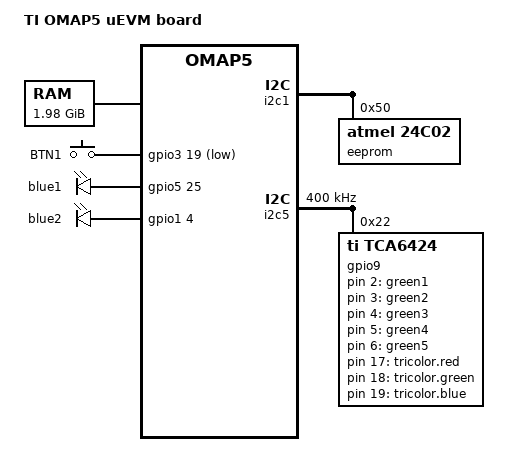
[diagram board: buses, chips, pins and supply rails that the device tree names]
/*
 * Copyright (C) 2013 Texas Instruments Incorporated - http://www.ti.com/
 *
 * This program is free software; you can redistribute it and/or modify
 * it under the terms of the GNU General Public License version 2 as
 * published by the Free Software Foundation.
 */
/dts-v1/;

#include "omap5-board-common.dtsi"

/ {
	model = "TI OMAP5 uEVM board";
	compatible = "ti,omap5-uevm", "ti,omap5";

	memory@80000000 {
		device_type = "memory";
		reg = <0 0x80000000 0 0x7f000000>; /* 2032 MB */
	};
};


&i2c1 {
	eeprom@50 {
		compatible = "atmel,24c02";
		reg = <0x50>;
	};
};

&i2c5 {
	pinctrl-names = "default";
	pinctrl-0 = <&i2c5_pins>;

	clock-frequency = <400000>;
};

&omap5_pmx_core {
	i2c5_pins: i2c5 {
		pinctrl-single,pins = <
			OMAP5_IOPAD(0x1c6, PIN_INPUT | MUX_MODE0)		/* i2c5_scl */
			OMAP5_IOPAD(0x1c8, PIN_INPUT | MUX_MODE0)		/* i2c5_sda */
		>;
	};
};

&i2c5 {
	gpio9: gpio@22 {
		compatible = "ti,tca6424";
		reg = <0x22>;
		gpio-controller;
		#gpio-cells = <2>;
		pinctrl-names = "default";
		pinctrl-0 = <&tca6424_pins>;
		interrupt-parent = <&gpio3>;
//		interrupts = <12 IRQ_TYPE_LEVEL_LOW>;  /* gpio3_76 */
//		interrupts = <12 IRQ_TYPE_EDGE_FALLING>;  /* gpio3_76 */
		// level_low is correct, but iirc the driver is crappy.
		// also be sure to configure unused pins as outputs to
		// avoid getting spurious interrupts from noise pickup.
	};
};

&omap5_pmx_core {
	tca6424_pins: tca6424 {
		pinctrl-single,pins = <
			OMAP5_IOPAD(0x0a8, PIN_INPUT_PULLUP | MUX_MODE6)	/* gpio3_76 */
		>;
	};
};


/****** gpio keys/buttons ******/

/ {
	evm_keys {
		compatible = "gpio-keys";

		pinctrl-names = "default";
		pinctrl-0 = <&evm_keys_pins>;

		#address-cells = <7>;
		#size-cells = <0>;

		btn1 {
			label = "BTN1";
			linux,code = <169>;
			gpios = <&gpio3 19 GPIO_ACTIVE_LOW>;	/* gpio3_83 */
			wakeup-source;
			autorepeat;
			debounce_interval = <50>;
		};
	};
};

&omap5_pmx_core {
	evm_keys_pins: evm_keys {
		pinctrl-single,pins = <
			OMAP5_IOPAD(0x0b6, PIN_INPUT_PULLUP | MUX_MODE6)	/* gpio3_83 */
		>;
	};
};


/****** gpio leds ******/

/ {
	evm_leds {
		compatible = "gpio-leds";

		pinctrl-names = "default";
		pinctrl-0 = <&evm_leds_pins>, <&evm_leds_wkup_pins>;

		// LED schematics, simplified:
		//   gpio1.04 --H_SYSBOOT_4--> Q3.1 --BLU_LED_1---> D2 "GLED2"
		//   gpio5.25 --H_GPIO5_153--> Q3.2 --BLU_LED_2---> D1 "GLED1"
		//   gpio9.02 --PIO_GPIO_02--> Q6.1 --GRN_LED0----> D8 "LED1"
		//   gpio9.03 --PIO_GPIO_03--> Q6.2 --GRN_LED1----> D7 "LED2"
		//   gpio9.04 --PIO_GPIO_04--> Q5.1 --GRN_LED2----> D6 "LED3"
		//   gpio9.05 --PIO_GPIO_05--> Q5.2 --GRN_LED3----> D5 "LED4"
		//   gpio9.06 --PIO_GPIO_06--> Q1.1 --GRN_LED4----> D4 "LED5"
		//   gpio9.17 --TC_LED_RED---> Q1.2 --TRICOLOR_R-\
		//   gpio9.18 --TC_LED_GRN---> Q2.1 --TRICOLOR_G--> D14 "LED"
		//   gpio9.19 --TC_LED_BLUE--> Q2.2 --TRICOLOR_B-/

		blue1 {
			gpios = <&gpio5 25 GPIO_ACTIVE_HIGH>;
			linux,default-trigger = "cpu0";
		};
		blue2 {
			gpios = <&gpio1 4 GPIO_ACTIVE_HIGH>;
			linux,default-trigger = "cpu1";
		};

		green1 {
			gpios = <&gpio9 2 GPIO_ACTIVE_HIGH>;
			linux,default-trigger = "default-on";
			default-state = "on";
		};
		green2 {
			gpios = <&gpio9 3 GPIO_ACTIVE_HIGH>;
		};
		green3 {
			gpios = <&gpio9 4 GPIO_ACTIVE_HIGH>;
		};
		green4 {
			gpios = <&gpio9 5 GPIO_ACTIVE_HIGH>;
			linux,default-trigger = "mmc0";
		};
		green5 {
			gpios = <&gpio9 6 GPIO_ACTIVE_HIGH>;
			linux,default-trigger = "mmc1";
		};

		tricolor.red {
			gpios = <&gpio9 17 GPIO_ACTIVE_HIGH>;
		};
		tricolor.green {
			gpios = <&gpio9 18 GPIO_ACTIVE_HIGH>;
		};
		tricolor.blue {
			gpios = <&gpio9 19 GPIO_ACTIVE_HIGH>;
		};
	};
};

&omap5_pmx_wkup {
	evm_leds_wkup_pins: evm_leds {
		pinctrl-single,pins = <
			OMAP5_IOPAD(0x078, PIN_OUTPUT | MUX_MODE6)
		>;
	};
};

&omap5_pmx_core {
	evm_leds_pins: evm_leds {
		pinctrl-single,pins = <
			OMAP5_IOPAD(0x1d6, PIN_OUTPUT | MUX_MODE6) /* uart3_cts_rctx.gpio5_153 */
		>;
	};
};


/****** hdmi details ******/

&hdmi {
	vdda-supply = <&ldo4_reg>;
};

&tpd12s015 {
	gpios = <&gpio9 0 GPIO_ACTIVE_HIGH>,	/* TCA6424A P01, CT CP HPD */
		<&gpio9 1 GPIO_ACTIVE_HIGH>,	/* TCA6424A P00, LS OE */
		<&gpio7 1 GPIO_ACTIVE_HIGH>;	/* GPIO 193, HPD */

	pinctrl-names = "default";
	pinctrl-0 = <&tpd12s015_pins>;
};

&omap5_pmx_core {
	tpd12s015_pins: tpd12s015 {
		pinctrl-single,pins = <
			OMAP5_IOPAD(0x13e, PIN_INPUT_PULLDOWN | MUX_MODE6)	/* hdmi_hpd.gpio7_193 */
		>;
	};
};


/****** audio ic details ******/

&twl6040 {
	ti,audpwron-gpio = <&gpio5 13 GPIO_ACTIVE_HIGH>;  /* gpio line 141 */

	pinctrl-names = "default";
	pinctrl-0 = <&twl6040_pins>;
};

&omap5_pmx_core {
	twl6040_pins: twl6040 {
		pinctrl-single,pins = <
			OMAP5_IOPAD(0x1be, PIN_OUTPUT | MUX_MODE6)	/* mcspi1_somi.gpio5_141 */
		>;
	};
};


/****** ehm... why isn't the compatible-string set right from the start? ******/

&wlcore {
	compatible = "ti,wl1837";
};


/****** not placed on my uevm ******/

&wlcore {
	status = "disabled";
};
